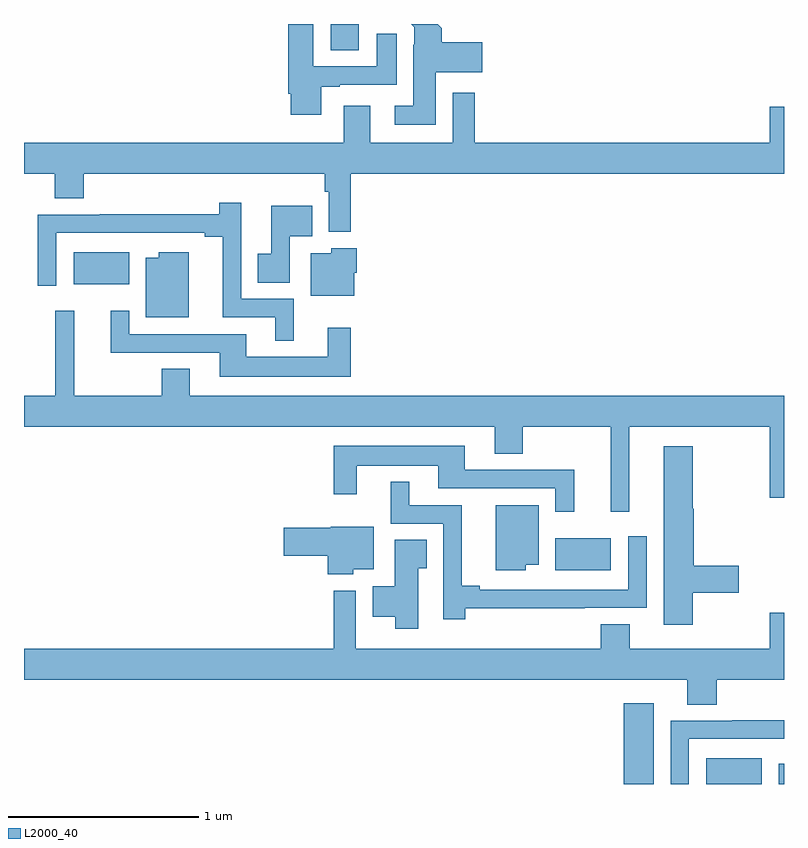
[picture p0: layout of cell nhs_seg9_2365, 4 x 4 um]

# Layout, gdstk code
import gdstk
lib = gdstk.Library(unit=1e-6, precision=1e-09)
def R(c, l, rs):  # rectangles x0, y0, x1, y1
    for r in rs: c.add(gdstk.rectangle(r[:2], r[2:], *l))
def P(c, l, *ps):  # polygons
    for p in ps: c.add(gdstk.Polygon(p, *l))
L2000_40 = (2000, 40)

nhs_seg9_2365 = lib.new_cell('nhs_seg9_2365')
R(nhs_seg9_2365, L2000_40, [(248.156,1234.5,248.314,1234.924), (248.591,1234.5,248.884,1234.636), (248.972,1234.5,249,1234.606), (247.796,1235.624,248.089,1235.794), (245.261,1237.13,245.554,1237.3), (246.614,1238.362,246.763,1238.5)])
P(nhs_seg9_2365, L2000_40, [(246.565,1238.169),(246.661,1238.169),(246.661,1238.181),(246.961,1238.181),(246.961,1238.449),(246.857,1238.449),(246.857,1238.277),(246.523,1238.277),(246.523,1238.5),(246.392,1238.5),(246.392,1238.134),(246.404,1238.134),(246.404,1238.022),(246.565,1238.022)],
  [(247.168,1238.246),(247.411,1238.246),(247.411,1238.404),(247.199,1238.404),(247.199,1238.478),(247.177,1238.5),(247.037,1238.5),(247.053,1238.484),(247.053,1238.39),(247.049,1238.39),(247.049,1238.071),(246.951,1238.071),(246.951,1237.97),(247.168,1237.97)],
  [(246.719,1237.712),(249,1237.712),(249,1238.065),(248.924,1238.065),(248.924,1237.876),(247.373,1237.876),(247.373,1238.137),(247.257,1238.137),(247.257,1237.876),(246.823,1237.876),(246.823,1238.071),(246.683,1238.071),(246.683,1237.876),(245,1237.876),(245,1237.712),(245.162,1237.712),(245.162,1237.582),(245.315,1237.582),(245.315,1237.712),(246.583,1237.712),(246.583,1237.616),(246.603,1237.616),(246.603,1237.406),(246.719,1237.406)],
  [(246.421,1237.053),(246.144,1237.053),(246.144,1237.558),(246.028,1237.558),(246.028,1237.499),(245.398,1237.499),(245.398,1237.497),(245.073,1237.497),(245.073,1237.122),(245.169,1237.122),(245.169,1237.401),(245.951,1237.401),(245.951,1237.381),(246.047,1237.381),(246.047,1236.957),(246.323,1236.957),(246.323,1236.833),(246.421,1236.833)],
  [(246.399,1237.382),(246.518,1237.382),(246.518,1237.543),(246.302,1237.543),(246.302,1237.29),(246.229,1237.29),(246.229,1237.138),(246.399,1237.138)],
  [(246.739,1237.19),(246.752,1237.19),(246.752,1237.321),(246.618,1237.321),(246.618,1237.294),(246.509,1237.294),(246.509,1237.07),(246.739,1237.07)],
  [(245.866,1237.3),(245.708,1237.3),(245.708,1237.27),(245.642,1237.27),(245.642,1236.956),(245.866,1236.956)],
  [(248.186,1236.38),(248.924,1236.38),(248.924,1236.006),(249,1236.006),(249,1236.544),(245.872,1236.544),(245.872,1236.686),(245.725,1236.686),(245.725,1236.544),(245.264,1236.544),(245.264,1236.991),(245.165,1236.991),(245.165,1236.544),(245,1236.544),(245,1236.38),(247.478,1236.38),(247.478,1236.238),(247.626,1236.238),(247.626,1236.38),(248.087,1236.38),(248.087,1235.934),(248.186,1235.934)],
  [(246.721,1236.901),(246.599,1236.901),(246.599,1236.748),(246.169,1236.748),(246.169,1236.867),(245.553,1236.867),(245.553,1236.991),(245.456,1236.991),(245.456,1236.771),(246.029,1236.771),(246.029,1236.644),(246.721,1236.644)],
  [(247.895,1236.153),(247.321,1236.153),(247.321,1236.28),(246.63,1236.28),(246.63,1236.024),(246.751,1236.024),(246.751,1236.176),(247.181,1236.176),(247.181,1236.057),(247.797,1236.057),(247.797,1235.934),(247.895,1235.934)],
  [(248.52,1235.506),(248.761,1235.506),(248.761,1235.648),(248.525,1235.648),(248.525,1235.948),(248.52,1235.948),(248.52,1236.277),(248.366,1236.277),(248.366,1235.337),(248.52,1235.337)],
  [(247.322,1235.426),(247.952,1235.426),(247.952,1235.427),(248.277,1235.427),(248.277,1235.803),(248.181,1235.803),(248.181,1235.523),(247.399,1235.523),(247.399,1235.543),(247.304,1235.543),(247.304,1235.967),(247.027,1235.967),(247.027,1236.091),(246.929,1236.091),(246.929,1235.871),(247.206,1235.871),(247.206,1235.367),(247.322,1235.367)],
  [(247.642,1235.654),(247.708,1235.654),(247.708,1235.968),(247.484,1235.968),(247.484,1235.624),(247.642,1235.624)],
  [(246.732,1235.63),(246.841,1235.63),(246.841,1235.854),(246.615,1235.854),(246.615,1235.849),(246.366,1235.849),(246.366,1235.702),(246.599,1235.702),(246.599,1235.603),(246.732,1235.603)],
  [(247.075,1235.635),(247.121,1235.635),(247.121,1235.786),(246.95,1235.786),(246.95,1235.542),(246.836,1235.542),(246.836,1235.381),(246.953,1235.381),(246.953,1235.316),(247.075,1235.316)],
  [(248.645,1235.048),(249,1235.048),(249,1235.401),(248.924,1235.401),(248.924,1235.212),(248.188,1235.212),(248.188,1235.342),(248.036,1235.342),(248.036,1235.212),(246.747,1235.212),(246.747,1235.518),(246.631,1235.518),(246.631,1235.212),(245,1235.212),(245,1235.048),(248.492,1235.048),(248.492,1234.918),(248.645,1234.918)],
  [(248.499,1234.737),(249,1234.737),(249,1234.835),(248.728,1234.835),(248.728,1234.833),(248.403,1234.833),(248.403,1234.5),(248.499,1234.5)])

lib.write_gds('nhs_seg9_2365.gds')
